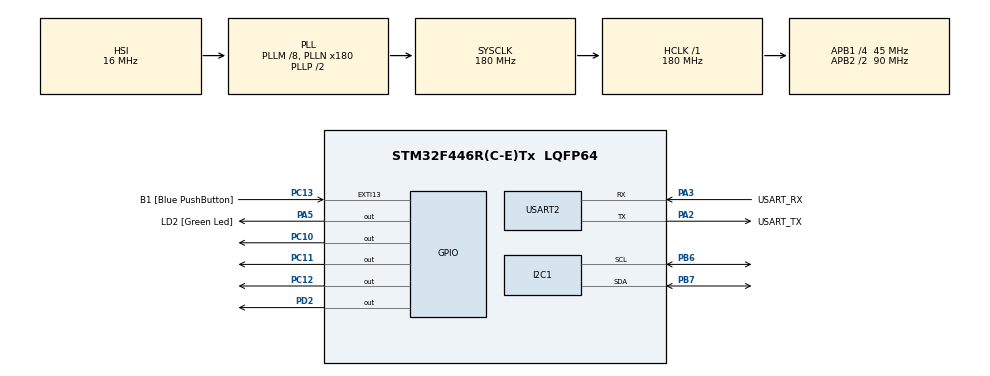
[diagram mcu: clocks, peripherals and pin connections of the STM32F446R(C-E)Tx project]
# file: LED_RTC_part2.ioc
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Mcu.Family=STM32F4
Mcu.Name=STM32F446R(C-E)Tx
Mcu.Package=LQFP64
NVIC.I2C1_EV_IRQn=true\:6\:0\:true\:false\:true\:true\:true\:true
NVIC.PriorityGroup=NVIC_PRIORITYGROUP_4
NVIC.TIM6_DAC_IRQn=true\:0\:0\:false\:false\:true\:false\:true\:true
NVIC.TimeBase=TIM6_DAC_IRQn
NVIC.TimeBaseIP=TIM6
NVIC.USART2_IRQn=true\:6\:0\:true\:false\:true\:true\:true\:true
PA13.GPIO_Label=TMS
PA13.Mode=Serial_Wire
PA13.Signal=SYS_JTMS-SWDIO
PA14.GPIO_Label=TCK
PA14.Mode=Serial_Wire
PA14.Signal=SYS_JTCK-SWCLK
PA2.GPIO_Label=USART_TX
PA2.Mode=Asynchronous
PA2.Signal=USART2_TX
PA3.GPIO_Label=USART_RX
PA3.Mode=Asynchronous
PA3.Signal=USART2_RX
PA5.GPIO_Label=LD2 [Green Led]
PA5.Signal=GPIO_Output
PB3.GPIO_Label=SWO
PB3.Signal=SYS_JTDO-SWO
PB6.Mode=I2C
PB6.Signal=I2C1_SCL
PB7.Mode=I2C
PB7.Signal=I2C1_SDA
PC10.Signal=GPIO_Output
PC11.Signal=GPIO_Output
PC12.Signal=GPIO_Output
PC13.GPIO_Label=B1 [Blue PushButton]
PC13.GPIO_ModeDefaultEXTI=GPIO_MODE_IT_FALLING
PC13.Signal=GPXTI13
PC14-OSC32_IN.Signal=RCC_OSC32_IN
PC15-OSC32_OUT.Signal=RCC_OSC32_OUT
PD2.Signal=GPIO_Output
PH0-OSC_IN.Signal=RCC_OSC_IN
PH1-OSC_OUT.Signal=RCC_OSC_OUT
ProjectManager.HeapSize=0x200
ProjectManager.StackSize=0x400
ProjectManager.TargetToolchain=STM32CubeIDE
RCC.AHBFreq_Value=180000000
RCC.APB1CLKDivider=RCC_HCLK_DIV4
RCC.APB1Freq_Value=45000000
RCC.APB1TimFreq_Value=90000000
RCC.APB2CLKDivider=RCC_HCLK_DIV2
RCC.APB2Freq_Value=90000000
RCC.APB2TimFreq_Value=180000000
RCC.CortexFreq_Value=180000000
RCC.FLatency-AdvancedSettings=FLASH_LATENCY_5
RCC.HCLKFreq_Value=180000000
RCC.HSE_VALUE=8000000
RCC.HSI_VALUE=16000000
RCC.LSE_VALUE=32768
RCC.PLLM=8
RCC.PLLN=180
RCC.SYSCLKFreq_VALUE=180000000
RCC.SYSCLKSource=RCC_SYSCLKSOURCE_PLLCLK
RCC.USBFreq_Value=180000000
RCC.VCOOutputFreq_Value=360000000
USART2.VirtualMode=VM_ASYNC
VP_SYS_VS_tim6.Mode=TIM6
board=NUCLEO-F446RE

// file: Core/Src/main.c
/* USER CODE BEGIN Header */
/**
  ******************************************************************************
  * @file           : main.c
  * @brief          : Main program body
  ******************************************************************************
  * @attention
  *
  * Copyright (c) 2022 STMicroelectronics.
  * All rights reserved.
  *
  * This software is licensed under terms that can be found in the LICENSE file
  * in the root directory of this software component.
  * If no LICENSE file comes with this software, it is provided AS-IS.
  *
  ******************************************************************************
  */
/* USER CODE END Header */
#include "main.h"

 I2C_HandleTypeDef hi2c1;

UART_HandleTypeDef huart2;

void SystemClock_Config(void);
static void MX_GPIO_Init(void);
static void MX_I2C1_Init(void);
static void MX_USART2_UART_Init(void);
TaskHandle_t  handle_menu_task ;
TaskHandle_t  hanlde_cmd_task  ;
TaskHandle_t handle_printf_task ;
TaskHandle_t handle_led_task ;
TaskHandle_t handle_rtc_task ;

QueueHandle_t q_data ;
QueueHandle_t q_printf ;

//  Software timer handles.
TimerHandle_t  handle_led_timer[4];
void led_effect_callback (TimerHandle_t xTimer) ;

// state variable
state_t curr_state  = sMainMenu ;

volatile uint8_t user_data ; // Data gửi vào UART

int main(void)
{
  /* USER CODE BEGIN 1 */
	BaseType_t status ;
  /* USER CODE END 1 */

  /* MCU Configuration--------------------------------------------------------*/

  /* Reset of all peripherals, Initializes the Flash interface and the Systick. */
  HAL_Init();

  /* Configure the system clock */
  SystemClock_Config();

  /* Initialize all configured peripherals */
  MX_GPIO_Init();
  MX_I2C1_Init();
  MX_USART2_UART_Init();
  /* USER CODE BEGIN 2 */
  status = xTaskCreate(menu_task, "menu_task", 250,NULL, 3, &handle_menu_task) ;
  configASSERT(status == pdPASS) ;

  status = xTaskCreate(cmd_hanlder_task, "cmd_task", 250, NULL,2, &hanlde_cmd_task) ;
  configASSERT(status == pdPASS) ;

  status = xTaskCreate(printf_task, "printf_task", 250, NULL, 2, &handle_printf_task) ;
  configASSERT(status == pdPASS) ;

  status = xTaskCreate(led_task, "led_task", 250, NULL, 2, &handle_led_task) ;
  configASSERT(status == pdPASS) ;

//  status = xTaskCreate(rtc_task, "rtc_task", 250, NULL, 2, &handle_rtc_task) ;
//  configASSERT(status == pdPASS) ;

  q_data = xQueueCreate(10,sizeof(char)) ;
  configASSERT(q_data != NULL) ;

  // we enqueue a pointer to the string or pointer to the message into this queue
  q_printf = xQueueCreate(10,sizeof(size_t)) ;
   configASSERT(q_printf != NULL) ;

   // creat software timers for LED effects.

   for (int i = 0 ; i< 4 ; i ++)
   {
	   handle_led_timer[i] =  xTimerCreate("led_timer", pdMS_TO_TICKS(500),pdTRUE,(void *)(i+1),led_effect_callback) ;
   }

   HAL_UART_Receive_IT(&huart2,(uint8_t *)&user_data,1);

  // start the FreeRTOS scheduler
  vTaskStartScheduler();
  /* USER CODE END 2 */

  /* Infinite loop */
  while (1)
  {

  }
}

void SystemClock_Config(void)
{
  RCC_OscInitTypeDef RCC_OscInitStruct = {0};
  RCC_ClkInitTypeDef RCC_ClkInitStruct = {0};

  /** Configure the main internal regulator output voltage
  */
  __HAL_RCC_PWR_CLK_ENABLE();
  __HAL_PWR_VOLTAGESCALING_CONFIG(PWR_REGULATOR_VOLTAGE_SCALE1);

  /** Initializes the RCC Oscillators according to the specified parameters
  * in the RCC_OscInitTypeDef structure.
  */
  RCC_OscInitStruct.OscillatorType = RCC_OSCILLATORTYPE_HSI;
  RCC_OscInitStruct.HSIState = RCC_HSI_ON;
  RCC_OscInitStruct.HSICalibrationValue = RCC_HSICALIBRATION_DEFAULT;
  RCC_OscInitStruct.PLL.PLLState = RCC_PLL_ON;
  RCC_OscInitStruct.PLL.PLLSource = RCC_PLLSOURCE_HSI;
  RCC_OscInitStruct.PLL.PLLM = 8;
  RCC_OscInitStruct.PLL.PLLN = 180;
  RCC_OscInitStruct.PLL.PLLP = RCC_PLLP_DIV2;
  RCC_OscInitStruct.PLL.PLLQ = 2;
  RCC_OscInitStruct.PLL.PLLR = 2;
  if (HAL_RCC_OscConfig(&RCC_OscInitStruct) != HAL_OK)
  {
    Error_Handler();
  }

  /** Activate the Over-Drive mode
  */
  if (HAL_PWREx_EnableOverDrive() != HAL_OK)
  {
    Error_Handler();
  }

  /** Initializes the CPU, AHB and APB buses clocks
  */
  RCC_ClkInitStruct.ClockType = RCC_CLOCKTYPE_HCLK|RCC_CLOCKTYPE_SYSCLK
                              |RCC_CLOCKTYPE_PCLK1|RCC_CLOCKTYPE_PCLK2;
  RCC_ClkInitStruct.SYSCLKSource = RCC_SYSCLKSOURCE_PLLCLK;
  RCC_ClkInitStruct.AHBCLKDivider = RCC_SYSCLK_DIV1;
  RCC_ClkInitStruct.APB1CLKDivider = RCC_HCLK_DIV4;
  RCC_ClkInitStruct.APB2CLKDivider = RCC_HCLK_DIV2;

  if (HAL_RCC_ClockConfig(&RCC_ClkInitStruct, FLASH_LATENCY_5) != HAL_OK)
  {
    Error_Handler();
  }
}

static void MX_I2C1_Init(void)
{

  hi2c1.Instance = I2C1;
  hi2c1.Init.ClockSpeed = 100000;
  hi2c1.Init.DutyCycle = I2C_DUTYCYCLE_2;
  hi2c1.Init.OwnAddress1 = 0;
  hi2c1.Init.AddressingMode = I2C_ADDRESSINGMODE_7BIT;
  hi2c1.Init.DualAddressMode = I2C_DUALADDRESS_DISABLE;
  hi2c1.Init.OwnAddress2 = 0;
  hi2c1.Init.GeneralCallMode = I2C_GENERALCALL_DISABLE;
  hi2c1.Init.NoStretchMode = I2C_NOSTRETCH_DISABLE;
  if (HAL_I2C_Init(&hi2c1) != HAL_OK)
  {
    Error_Handler();
  }

}

static void MX_USART2_UART_Init(void)
{

  huart2.Instance = USART2;
  huart2.Init.BaudRate = 115200;
  huart2.Init.WordLength = UART_WORDLENGTH_8B;
  huart2.Init.StopBits = UART_STOPBITS_1;
  huart2.Init.Parity = UART_PARITY_NONE;
  huart2.Init.Mode = UART_MODE_TX_RX;
  huart2.Init.HwFlowCtl = UART_HWCONTROL_NONE;
  huart2.Init.OverSampling = UART_OVERSAMPLING_16;
  if (HAL_UART_Init(&huart2) != HAL_OK)
  {
    Error_Handler();
  }

}

static void MX_GPIO_Init(void)
{
  GPIO_InitTypeDef GPIO_InitStruct = {0};

  /* GPIO Ports Clock Enable */
  __HAL_RCC_GPIOC_CLK_ENABLE();
  __HAL_RCC_GPIOH_CLK_ENABLE();
  __HAL_RCC_GPIOA_CLK_ENABLE();
  __HAL_RCC_GPIOD_CLK_ENABLE();
  __HAL_RCC_GPIOB_CLK_ENABLE();

  /*Configure GPIO pin Output Level */
  HAL_GPIO_WritePin(LD2_GPIO_Port, LD2_Pin, GPIO_PIN_RESET);

  /*Configure GPIO pin Output Level */
  HAL_GPIO_WritePin(GPIOC, GPIO_PIN_10|GPIO_PIN_11|GPIO_PIN_12, GPIO_PIN_RESET);

  /*Configure GPIO pin Output Level */
  HAL_GPIO_WritePin(GPIOD, GPIO_PIN_2, GPIO_PIN_RESET);

  /*Configure GPIO pin : B1_Pin */
  GPIO_InitStruct.Pin = B1_Pin;
  GPIO_InitStruct.Mode = GPIO_MODE_IT_FALLING;
  GPIO_InitStruct.Pull = GPIO_NOPULL;
  HAL_GPIO_Init(B1_GPIO_Port, &GPIO_InitStruct);

  /*Configure GPIO pin : LD2_Pin */
  GPIO_InitStruct.Pin = LD2_Pin;
  GPIO_InitStruct.Mode = GPIO_MODE_OUTPUT_PP;
  GPIO_InitStruct.Pull = GPIO_NOPULL;
  GPIO_InitStruct.Speed = GPIO_SPEED_FREQ_LOW;
  HAL_GPIO_Init(LD2_GPIO_Port, &GPIO_InitStruct);

  /*Configure GPIO pins : PC10 PC11 PC12 */
  GPIO_InitStruct.Pin = GPIO_PIN_10|GPIO_PIN_11|GPIO_PIN_12;
  GPIO_InitStruct.Mode = GPIO_MODE_OUTPUT_PP;
  GPIO_InitStruct.Pull = GPIO_NOPULL;
  GPIO_InitStruct.Speed = GPIO_SPEED_FREQ_LOW;
  HAL_GPIO_Init(GPIOC, &GPIO_InitStruct);

  /*Configure GPIO pin : PD2 */
  GPIO_InitStruct.Pin = GPIO_PIN_2;
  GPIO_InitStruct.Mode = GPIO_MODE_OUTPUT_PP;
  GPIO_InitStruct.Pull = GPIO_NOPULL;
  GPIO_InitStruct.Speed = GPIO_SPEED_FREQ_LOW;
  HAL_GPIO_Init(GPIOD, &GPIO_InitStruct);

}

/* USER CODE BEGIN 4 */
void led_effect_callback (TimerHandle_t xTimer)
{
	int id ;
	id = (uint32_t)pvTimerGetTimerID(xTimer) ;
	switch(id)
	{
	case 1:
		led_effect1();
		break ;
	case 2:
		led_effect2();
		break ;
	case 3:
		led_effect3();
		break ;
	case 4:
		led_effect4();
		break ;

	}

}

void HAL_UART_RxCpltCallback(UART_HandleTypeDef *huart)
{
	uint8_t dummy ;

	if( !xQueueIsQueueFullFromISR(q_data))
	{
		/*Queue is not full */
		/*TODO: Enqueue data byte */
		xQueueSendFromISR(q_data,(void *)&user_data,NULL);

	}else{
		/*Queue is full */

		if(user_data == '\n')
		{
			/*user_data = '\n' */
			/*TODO: make sure that last data byte of the queue is '\n' */
			xQueueReceiveFromISR(q_data,(void *)&dummy,NULL);
			xQueueSendFromISR(q_data,(void *)&user_data,NULL);
		}
	}

	/*TODO: send notification to command handling task if user_data = '\n' */
	if(user_data == '\n')
	{
		xTaskNotifyFromISR(hanlde_cmd_task,0,eNoAction , NULL);
	}

	/* TODO: Enable UART data byte reception again in IT mode */
	 HAL_UART_Receive_IT(&huart2,(uint8_t *)&user_data,1);

}
/* USER CODE END 4 */

void HAL_TIM_PeriodElapsedCallback(TIM_HandleTypeDef *htim)
{
  if (htim->Instance == TIM6) {
    HAL_IncTick();
  }
}

void Error_Handler(void)
{
  __disable_irq();
  while (1)
  {
  }
}
